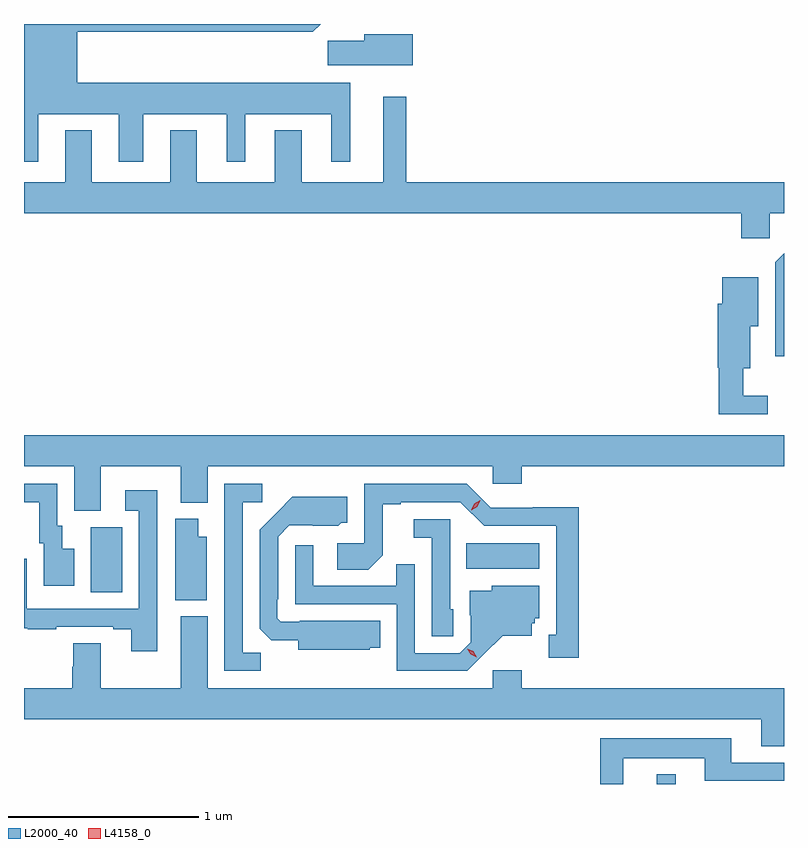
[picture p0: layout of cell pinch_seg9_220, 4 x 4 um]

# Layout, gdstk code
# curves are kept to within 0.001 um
import gdstk
lib = gdstk.Library(unit=1e-6, precision=1e-09)
def R(c, l, rs):  # rectangles x0, y0, x1, y1
    for r in rs: c.add(gdstk.rectangle(r[:2], r[2:], *l))
def P(c, l, *ps):  # polygons
    for p in ps: c.add(gdstk.Polygon(p, *l))
L2000_40 = (2000, 40)
L4158_0 = (4158, 0)

pinch_seg9_220 = lib.new_cell('pinch_seg9_220')
R(pinch_seg9_220, L2000_40, [(601.907,1206.736,602.005,1206.787), (598.928,1207.744,599.092,1208.088), (600.904,1207.868,601.288,1208.002)])
P(pinch_seg9_220, L2000_40, [(598.651,1210.262),(599.075,1210.262),(599.075,1210.011),(599.203,1210.011),(599.203,1210.262),(599.642,1210.262),(599.642,1210.011),(599.74,1210.011),(599.74,1210.262),(600.194,1210.262),(600.194,1210.011),(600.292,1210.011),(600.292,1210.426),(598.855,1210.426),(598.855,1210.696),(599.839,1210.696),(599.839,1210.694),(600.095,1210.694),(600.137,1210.736),(598.576,1210.736),(598.576,1210.011),(598.651,1210.011)],
  [(600.622,1210.681),(600.368,1210.681),(600.368,1210.649),(600.174,1210.649),(600.174,1210.52),(600.622,1210.52)],
  [(602.502,1209.74),(602.576,1209.74),(602.576,1209.904),(600.589,1209.904),(600.589,1210.354),(600.467,1210.354),(600.467,1209.904),(600.037,1209.904),(600.037,1210.177),(599.897,1210.177),(599.897,1209.904),(599.485,1209.904),(599.485,1210.177),(599.345,1210.177),(599.345,1209.904),(598.933,1209.904),(598.933,1210.177),(598.793,1210.177),(598.793,1209.904),(598.576,1209.904),(598.576,1209.74),(602.351,1209.74),(602.351,1209.609),(602.502,1209.609)],
  [(602.576,1209.53),(602.529,1209.483),(602.529,1208.988),(602.576,1208.988)],
  [(602.491,1208.779),(602.362,1208.779),(602.362,1208.924),(602.398,1208.924),(602.398,1209.146),(602.44,1209.146),(602.44,1209.403),(602.252,1209.403),(602.252,1209.264),(602.228,1209.264),(602.228,1208.928),(602.233,1208.928),(602.233,1208.682),(602.491,1208.682)],
  [(598.981,1208.408),(599.402,1208.408),(599.402,1208.216),(599.542,1208.216),(599.542,1208.408),(601.044,1208.408),(601.044,1208.315),(601.196,1208.315),(601.196,1208.408),(602.576,1208.408),(602.576,1208.572),(598.576,1208.572),(598.576,1208.408),(598.841,1208.408),(598.841,1208.173),(598.981,1208.173)],
  [(601.495,1208.192),(601.254,1208.192),(601.254,1208.19),(601.032,1208.19),(600.906,1208.316),(600.366,1208.316),(600.366,1208.004),(600.225,1208.004),(600.225,1207.864),(600.389,1207.864),(600.465,1207.94),(600.465,1208.208),(600.559,1208.208),(600.559,1208.22),(600.873,1208.22),(600.999,1208.094),(601.376,1208.094),(601.376,1207.521),(601.337,1207.521),(601.337,1207.401),(601.495,1207.401)],
  [(599.823,1207.427),(599.727,1207.427),(599.727,1208.22),(599.83,1208.22),(599.83,1208.316),(599.631,1208.316),(599.631,1207.332),(599.823,1207.332)],
  [(598.84,1207.975),(598.777,1207.975),(598.777,1208.094),(598.752,1208.094),(598.752,1208.316),(598.576,1208.316),(598.576,1208.22),(598.655,1208.22),(598.655,1208.004),(598.679,1208.004),(598.679,1207.779),(598.84,1207.779)],
  [(599.277,1208.281),(599.109,1208.281),(599.109,1208.175),(599.181,1208.175),(599.181,1207.659),(598.59,1207.659),(598.59,1207.921),(598.576,1207.921),(598.576,1207.557),(598.597,1207.557),(598.597,1207.551),(598.745,1207.551),(598.745,1207.563),(599.045,1207.563),(599.045,1207.551),(599.141,1207.551),(599.141,1207.434),(599.277,1207.434)],
  [(600.396,1207.454),(600.452,1207.454),(600.452,1207.594),(600.028,1207.594),(600.028,1207.59),(599.928,1207.59),(599.91,1207.608),(599.91,1207.708),(599.913,1207.708),(599.913,1208.037),(599.973,1208.097),(600.23,1208.096),(600.246,1208.112),(600.277,1208.112),(600.277,1208.248),(599.989,1208.248),(599.817,1208.074),(599.817,1207.552),(599.876,1207.493),(600.02,1207.493),(600.02,1207.442),(600.396,1207.442)],
  [(599.539,1208.038),(599.494,1208.038),(599.494,1208.131),(599.372,1208.131),(599.372,1207.703),(599.539,1207.703)],
  [(600.834,1207.656),(600.819,1207.656),(600.819,1208.13),(600.627,1208.13),(600.627,1208.033),(600.723,1208.033),(600.723,1207.513),(600.834,1207.513)],
  [(600.994,1207.415),(601.097,1207.517),(601.249,1207.517),(601.249,1207.581),(601.263,1207.581),(601.263,1207.608),(601.288,1207.608),(601.288,1207.78),(601.038,1207.78),(601.038,1207.753),(600.923,1207.753),(600.923,1207.624),(600.927,1207.624),(600.927,1207.482),(600.87,1207.425),(600.633,1207.425),(600.633,1207.892),(600.535,1207.892),(600.535,1207.779),(600.099,1207.779),(600.099,1207.993),(600.003,1207.993),(600.003,1207.683),(600.537,1207.683),(600.537,1207.332),(600.91,1207.332)],
  [(602.576,1207.24),(601.196,1207.24),(601.196,1207.336),(601.044,1207.336),(601.044,1207.24),(599.542,1207.24),(599.542,1207.618),(599.402,1207.618),(599.402,1207.24),(598.981,1207.24),(598.981,1207.478),(598.834,1207.478),(598.834,1207.353),(598.829,1207.353),(598.829,1207.24),(598.576,1207.24),(598.576,1207.076),(602.456,1207.076),(602.456,1206.934),(602.576,1206.934)],
  [(601.729,1206.872),(602.159,1206.872),(602.159,1206.753),(602.576,1206.753),(602.576,1206.849),(602.299,1206.849),(602.299,1206.976),(601.608,1206.976),(601.608,1206.736),(601.729,1206.736)])
P(pinch_seg9_220, L4158_0, [(600.929,1208.177),(600.929,1208.178),(600.946,1208.21),(600.978,1208.229),(600.978,1208.229),(600.978,1208.229),(600.961,1208.196),(600.929,1208.177)],
  [(600.958,1207.404),(600.927,1207.419),(600.91,1207.448),(600.91,1207.448),(600.91,1207.448),(600.941,1207.434),(600.959,1207.404),(600.959,1207.404)])

lib.write_gds('pinch_seg9_220.gds')
